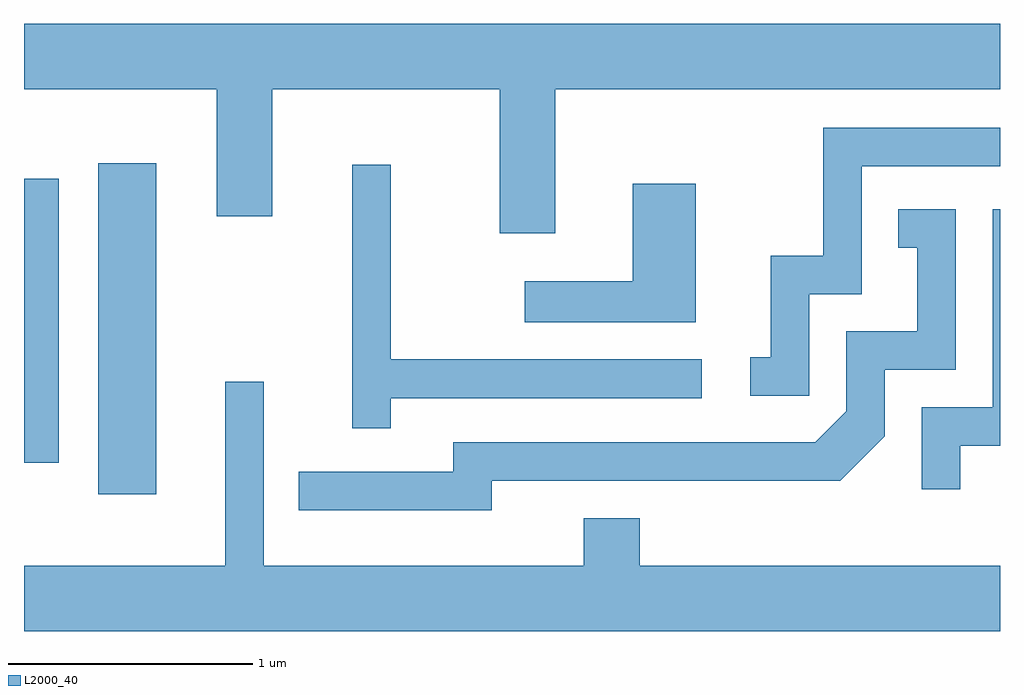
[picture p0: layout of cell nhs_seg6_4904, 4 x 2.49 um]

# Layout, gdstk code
import gdstk
lib = gdstk.Library(unit=1e-6, precision=1e-09)
def R(c, l, rs):  # rectangles x0, y0, x1, y1
    for r in rs: c.add(gdstk.rectangle(r[:2], r[2:], *l))
def P(c, l, *ps):  # polygons
    for p in ps: c.add(gdstk.Polygon(p, *l))
L2000_40 = (2000, 40)

nhs_seg6_4904 = lib.new_cell('nhs_seg6_4904')
R(nhs_seg6_4904, L2000_40, [(335.916,1537.276,336.154,1538.634), (335.611,1537.406,335.754,1538.569)])
P(nhs_seg6_4904, L2000_40, [(337.789,1538.936),(339.611,1538.936),(339.611,1539.204),(335.611,1539.204),(335.611,1538.936),(336.401,1538.936),(336.401,1538.416),(336.629,1538.416),(336.629,1538.936),(337.561,1538.936),(337.561,1538.346),(337.789,1538.346)],
  [(338.829,1538.096),(339.044,1538.096),(339.044,1538.621),(339.611,1538.621),(339.611,1538.779),(338.886,1538.779),(338.886,1538.254),(338.671,1538.254),(338.671,1537.839),(338.588,1537.839),(338.588,1537.681),(338.829,1537.681)],
  [(337.114,1537.671),(338.388,1537.671),(338.388,1537.829),(337.114,1537.829),(337.114,1538.628),(336.956,1538.628),(336.956,1537.548),(337.114,1537.548)],
  [(338.364,1538.549),(338.106,1538.549),(338.106,1538.149),(337.663,1538.149),(337.663,1537.981),(338.364,1537.981)],
  [(339.449,1537.476),(339.611,1537.476),(339.611,1538.444),(339.581,1538.444),(339.581,1537.634),(339.291,1537.634),(339.291,1537.298),(339.449,1537.298)],
  [(337.529,1537.331),(338.957,1537.331),(339.139,1537.514),(339.139,1537.786),(339.429,1537.786),(339.429,1538.444),(339.193,1538.444),(339.193,1538.286),(339.271,1538.286),(339.271,1537.944),(338.981,1537.944),(338.981,1537.617),(338.854,1537.489),(337.371,1537.489),(337.371,1537.369),(336.738,1537.369),(336.738,1537.211),(337.529,1537.211)],
  [(339.611,1536.984),(338.134,1536.984),(338.134,1537.179),(337.906,1537.179),(337.906,1536.984),(336.594,1536.984),(336.594,1537.738),(336.436,1537.738),(336.436,1536.984),(335.611,1536.984),(335.611,1536.716),(339.611,1536.716)])

lib.write_gds('nhs_seg6_4904.gds')
